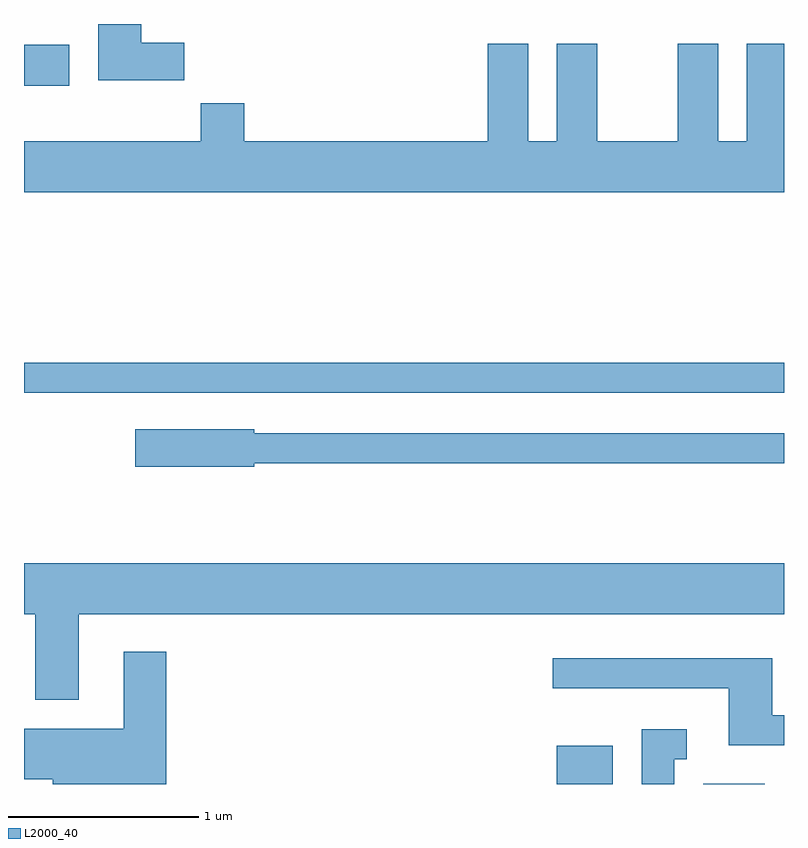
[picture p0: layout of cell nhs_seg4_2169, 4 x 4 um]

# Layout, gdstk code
import gdstk
lib = gdstk.Library(unit=1e-6, precision=1e-09)
def R(c, l, rs):  # rectangles x0, y0, x1, y1
    for r in rs: c.add(gdstk.rectangle(r[:2], r[2:], *l))
def P(c, l, *ps):  # polygons
    for p in ps: c.add(gdstk.Polygon(p, *l))
L2000_40 = (2000, 40)

nhs_seg4_2169 = lib.new_cell('nhs_seg4_2169')
R(nhs_seg4_2169, L2000_40, [(250.416,1375.982,250.709,1376.184), (251.186,1375.982,251.509,1375.984), (247.611,1378.041,251.611,1378.199), (247.611,1379.656,247.849,1379.874)])
P(nhs_seg4_2169, L2000_40, [(248.454,1379.884),(248.229,1379.884),(248.229,1379.982),(248.001,1379.982),(248.001,1379.686),(248.454,1379.686)],
  [(251.611,1379.879),(251.416,1379.879),(251.416,1379.364),(251.264,1379.364),(251.264,1379.879),(251.051,1379.879),(251.051,1379.364),(250.629,1379.364),(250.629,1379.879),(250.416,1379.879),(250.416,1379.364),(250.264,1379.364),(250.264,1379.879),(250.051,1379.879),(250.051,1379.364),(248.769,1379.364),(248.769,1379.564),(248.541,1379.564),(248.541,1379.364),(247.611,1379.364),(247.611,1379.096),(251.611,1379.096)],
  [(248.824,1377.671),(251.611,1377.671),(251.611,1377.829),(248.824,1377.829),(248.824,1377.849),(248.196,1377.849),(248.196,1377.651),(248.824,1377.651)],
  [(247.899,1376.876),(251.611,1376.876),(251.611,1377.144),(247.611,1377.144),(247.611,1376.876),(247.671,1376.876),(247.671,1376.426),(247.899,1376.426)],
  [(248.359,1376.679),(248.136,1376.679),(248.136,1376.274),(247.611,1376.274),(247.611,1376.006),(247.761,1376.006),(247.761,1375.982),(248.359,1375.982)],
  [(251.611,1376.344),(251.549,1376.344),(251.549,1376.644),(250.393,1376.644),(250.393,1376.486),(251.321,1376.486),(251.321,1376.186),(251.611,1376.186)],
  [(251.034,1376.111),(251.098,1376.111),(251.098,1376.269),(250.861,1376.269),(250.861,1375.982),(251.034,1375.982)])

lib.write_gds('nhs_seg4_2169.gds')
